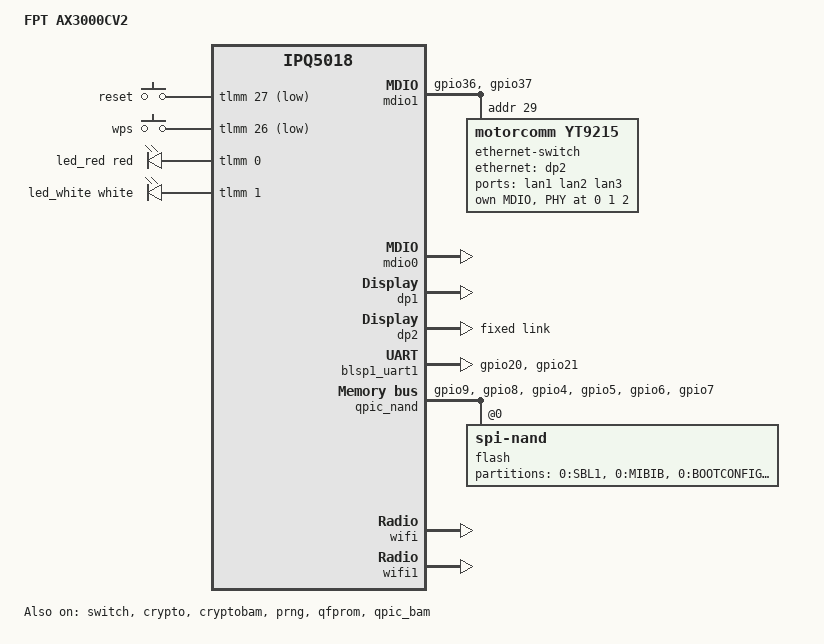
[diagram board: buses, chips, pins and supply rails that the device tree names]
// SPDX-License-Identifier: GPL-2.0-or-later

/dts-v1/;

#include "ipq5018.dtsi"
#include "ipq5018-ess.dtsi"
#include "ipq5018-qcn6122.dtsi"

#include <dt-bindings/gpio/gpio.h>
#include <dt-bindings/input/input.h>
#include <dt-bindings/leds/common.h>
#include <dt-bindings/net/qcom-ipq-ess.h>

/ {
	model = "FPT AX3000CV2";
	compatible = "fpt,wf810df", "fpt,ax3000cv2", "actiontec,wf810df",
		     "qcom,ipq5018";

	aliases {
		serial0 = &blsp1_uart1;
		label-mac-device = &dp1;

		ethernet0 = &dp1;
		ethernet1 = &dp2;

		led-boot = &led_red;
		led-failsafe = &led_red;
		led-running = &led_white;
		led-upgrade = &led_red;
	};

	chosen {
		bootargs-append = " root=/dev/ubiblock0_1 coherent_pool=2M";
		stdout-path = "serial0:115200n8";
	};

	keys {
		compatible = "gpio-keys";
		pinctrl-0 = <&button_pins>;
		pinctrl-names = "default";

		reset {
			label = "reset";
			gpios = <&tlmm 27 GPIO_ACTIVE_LOW>;
			linux,code = <KEY_RESTART>;
			linux,input-type = <EV_KEY>;
			debounce-interval = <60>;
		};

		wps {
			label = "wps";
			gpios = <&tlmm 26 GPIO_ACTIVE_LOW>;
			linux,code = <KEY_WPS_BUTTON>;
			linux,input-type = <EV_KEY>;
			debounce-interval = <60>;
		};
	};

	leds {
		compatible = "gpio-leds";
		pinctrl-0 = <&leds_pins>;
		pinctrl-names = "default";

		led_red: led-red {
			color = <LED_COLOR_ID_RED>;
			function = LED_FUNCTION_POWER;
			gpios = <&tlmm 0 GPIO_ACTIVE_HIGH>;
		};

		led_white: led-white {
			color = <LED_COLOR_ID_WHITE>;
			function = LED_FUNCTION_STATUS;
			gpios = <&tlmm 1 GPIO_ACTIVE_HIGH>;
		};
	};

};

&mdio1 {
	pinctrl-0 = <&mdio1_pins>;
	pinctrl-names = "default";
	status = "okay";

	ethernet-switch@1d {
		compatible = "motorcomm,yt9215";
		reg = <0x1d>;
		yt,extif = <0x0a>;
		motorcomm,skip-hw-reset;

			mdio {
				#address-cells = <1>;
				#size-cells = <0>;

			sw_phy0: phy@0 {
				reg = <0>;
			};

			sw_phy1: phy@1 {
				reg = <1>;
			};

				sw_phy2: phy@2 {
					reg = <2>;
				};

			};

		ports {
			#address-cells = <1>;
			#size-cells = <0>;

			port@0 {
				reg = <0>;
				label = "lan1";
				phy-mode = "internal";
				phy-handle = <&sw_phy0>;
			};

			port@1 {
				reg = <1>;
				label = "lan2";
				phy-mode = "internal";
				phy-handle = <&sw_phy1>;
			};

				port@2 {
					reg = <2>;
					label = "lan3";
					phy-mode = "internal";
					phy-handle = <&sw_phy2>;
				};

			/* Current upstream yt921x support models the CPU link on port 8. */
			port@8 {
				reg = <8>;
				phy-mode = "sgmii";
				ethernet = <&dp2>;

				fixed-link {
					speed = <1000>;
					full-duplex;
					pause;
					asym-pause;
				};
			};
		};
	};
};

&sleep_clk {
	clock-frequency = <32000>;
};

&xo_board_clk {
	clock-div = <4>;
	clock-mult = <1>;
};

&switch {
	status = "okay";

	switch_mac_mode = <MAC_MODE_SGMII_CHANNEL0>;
	switch_mac_mode1 = <MAC_MODE_DISABLED>;
	switch_mac_mode2 = <MAC_MODE_DISABLED>;

	switch_cpu_bmp = <ESS_PORT0>;
	switch_wan_bmp = <ESS_PORT1>;
	switch_lan_bmp = <ESS_PORT2>;
	switch_inner_bmp = <ESS_PORT7>;

	qcom,port_phyinfo {
		/* MAC0 -> integrated GE PHY -> WAN */
		port@0 {
			port_id = <1>;
			mdiobus = <&mdio0>;
			phy_address = <7>;
		};

		/* MAC1 -> YT9215 CPU port */
		port@1 {
			port_id = <2>;
			forced-speed = <1000>;
			forced-duplex = <1>;
		};
	};
};

&mdio0 {
	status = "okay";
};

&ge_phy {
	qcom,dac-preset-short-cable;
};

&dp1 {
	status = "okay";
	label = "wan";

	nvmem-cells = <&macaddr_appsblenv_ethaddr 0>;
	nvmem-cell-names = "mac-address";
};

&dp2 {
	status = "okay";
	label = "lan";

	nvmem-cells = <&macaddr_appsblenv_ethaddr 1>;
	nvmem-cell-names = "mac-address";

	fixed-link {
		speed = <1000>;
		full-duplex;
		pause;
		asym-pause;
	};
};

&blsp1_uart1 {
	pinctrl-0 = <&serial_0_pins>;
	pinctrl-names = "default";
	status = "okay";
};

&crypto {
	status = "okay";
};

&cryptobam {
	status = "okay";
};

&prng {
	status = "okay";
};

&qfprom {
	status = "okay";
};

&qpic_bam {
	status = "okay";
};

&qpic_nand {
	pinctrl-0 = <&qpic_pins>;
	pinctrl-names = "default";
	status = "okay";

	flash@0 {
		compatible = "spi-nand";
		reg = <0>;
		#address-cells = <1>;
		#size-cells = <1>;

		nand-ecc-engine = <&qpic_nand>;
		nand-ecc-strength = <8>;
		nand-ecc-step-size = <512>;
		nand-bus-width = <8>;

		partitions {
			compatible = "fixed-partitions";
			#address-cells = <1>;
			#size-cells = <1>;

			partition@0 {
				label = "0:SBL1";
				reg = <0x00000000 0x00080000>;
				read-only;
			};

			partition@80000 {
				label = "0:MIBIB";
				reg = <0x00080000 0x00080000>;
				read-only;
			};

			partition@100000 {
				label = "0:BOOTCONFIG";
				reg = <0x00100000 0x00040000>;
				read-only;
			};

			partition@140000 {
				label = "0:BOOTCONFIG1";
				reg = <0x00140000 0x00040000>;
				read-only;
			};

			partition@180000 {
				label = "0:QSEE";
				reg = <0x00180000 0x00100000>;
				read-only;
			};

			partition@280000 {
				label = "0:QSEE_1";
				reg = <0x00280000 0x00100000>;
				read-only;
			};

			partition@380000 {
				label = "0:DEVCFG";
				reg = <0x00380000 0x00040000>;
				read-only;
			};

			partition@3c0000 {
				label = "0:DEVCFG_1";
				reg = <0x003c0000 0x00040000>;
				read-only;
			};

			partition@400000 {
				label = "0:CDT";
				reg = <0x00400000 0x00040000>;
				read-only;
			};

			partition@440000 {
				label = "0:CDT_1";
				reg = <0x00440000 0x00040000>;
				read-only;
			};

			partition@480000 {
				label = "0:APPSBLENV";
				reg = <0x00480000 0x00080000>;

				nvmem-layout {
					compatible = "u-boot,env";

					macaddr_appsblenv_ethaddr: ethaddr {
						compatible = "mac-base";
						#nvmem-cell-cells = <1>;
					};
				};
			};

			partition@500000 {
				label = "0:APPSBL";
				reg = <0x00500000 0x00140000>;
				read-only;
			};

			partition@640000 {
				label = "0:APPSBL_1";
				reg = <0x00640000 0x00140000>;
				read-only;
			};

			partition@780000 {
				label = "0:ART";
				reg = <0x00780000 0x00100000>;
				read-only;
			};

			partition@880000 {
				label = "0:TRAINING";
				reg = <0x00880000 0x00080000>;
				read-only;
			};

			partition@900000 {
				label = "APPSBLENV_1";
				reg = <0x00900000 0x00080000>;
				read-only;
			};

			partition@980000 {
				label = "ART_1";
				reg = <0x00980000 0x00100000>;
				read-only;
			};

			partition@a80000 {
				label = "TRAINING_1";
				reg = <0x00a80000 0x00080000>;
				read-only;
			};

			partition@b00000 {
				label = "cert";
				reg = <0x00b00000 0x00100000>;
				read-only;
			};

			partition@c00000 {
				label = "cert_1";
				reg = <0x00c00000 0x00100000>;
				read-only;
			};

			partition@d00000 {
				label = "rootfs";
				reg = <0x00d00000 0x0f300000>;
			};
		};
	};
};

&tlmm {
	mdio1_pins: mdio-state {
		mdc-pins {
			pins = "gpio36";
			function = "mdc";
			drive-strength = <8>;
			bias-pull-up;
		};

		mdio-pins {
			pins = "gpio37";
			function = "mdio";
			drive-strength = <8>;
			bias-pull-up;
		};
	};

	leds_pins: leds-pins {
		pins = "gpio0", "gpio1";
		function = "gpio";
		drive-strength = <8>;
		bias-pull-down;
	};

	button_pins: button-pins {
		pins = "gpio27", "gpio26";
		function = "gpio";
		drive-strength = <8>;
		bias-pull-up;
	};

	qpic_pins: qpic-state {
		clock-pins {
			pins = "gpio9";
			function = "qspi_clk";
			drive-strength = <8>;
			bias-disable;
		};

		cs-pins {
			pins = "gpio8";
			function = "qspi_cs";
			drive-strength = <8>;
			bias-disable;
		};

		data-pins {
			pins = "gpio4", "gpio5", "gpio6", "gpio7";
			function = "qspi_data";
			drive-strength = <8>;
			bias-disable;
		};
	};

	serial_0_pins: uart0-state {
		pins = "gpio20", "gpio21";
		function = "blsp0_uart0";
		drive-strength = <8>;
		bias-disable;
	};
};

&q6v5_wcss {
	boot-args = <0x2 4 2 18 0 0>;
};

&wifi {
	status = "okay";

	qcom,rproc = <&q6_wcss_pd1>;
	qcom,userpd-subsys-name = "q6v5_wcss_userpd1";
	qcom,board_id = <0x23>;
	qcom,ath11k-fw-memory-mode = <1>;
	qcom,bdf-addr = <0x4c400000>;
};

&wifi1 {
	status = "okay";

	qcom,rproc = <&q6_wcss_pd2>;
	qcom,userpd-subsys-name = "q6v5_wcss_userpd2";
	qcom,board_id = <0x60>;
	qcom,ath11k-fw-memory-mode = <1>;
	qcom,bdf-addr = <0x4d100000>;
	qcom,m3-dump-addr = <0x4df00000>;
};
